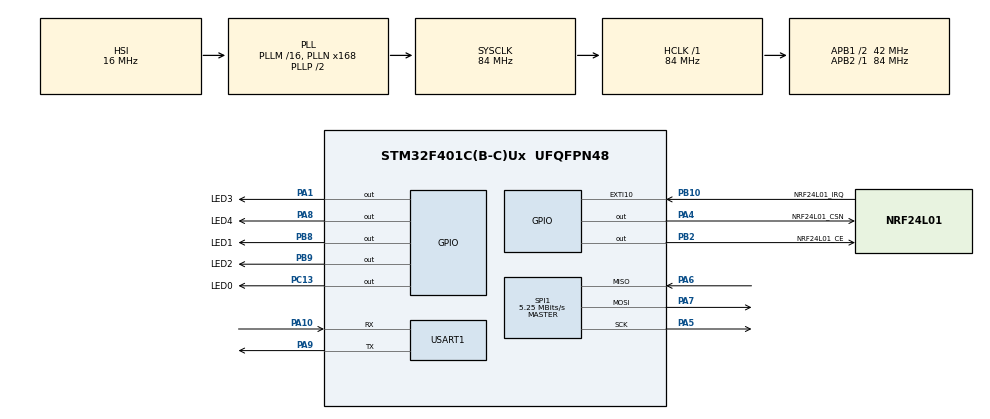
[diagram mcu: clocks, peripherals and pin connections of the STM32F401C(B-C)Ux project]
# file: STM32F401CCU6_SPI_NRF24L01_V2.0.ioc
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Mcu.Family=STM32F4
Mcu.Name=STM32F401C(B-C)Ux
Mcu.Package=UFQFPN48
NVIC.EXTI15_10_IRQn=true\:0\:0\:false\:false\:true\:true\:true
NVIC.PriorityGroup=NVIC_PRIORITYGROUP_4
NVIC.USART1_IRQn=true\:0\:0\:false\:false\:true\:true\:true
PA1.GPIO_Label=LED3
PA1.Signal=GPIO_Output
PA10.Mode=Asynchronous
PA10.Signal=USART1_RX
PA13.Mode=Serial_Wire
PA13.Signal=SYS_JTMS-SWDIO
PA14.Mode=Serial_Wire
PA14.Signal=SYS_JTCK-SWCLK
PA4.GPIO_Label=NRF24L01_CSN
PA4.GPIO_Speed=GPIO_SPEED_FREQ_LOW
PA4.PinState=GPIO_PIN_SET
PA4.Signal=GPIO_Output
PA5.Mode=Full_Duplex_Master
PA5.Signal=SPI1_SCK
PA6.Mode=Full_Duplex_Master
PA6.Signal=SPI1_MISO
PA7.Mode=Full_Duplex_Master
PA7.Signal=SPI1_MOSI
PA8.GPIO_Label=LED4
PA8.Signal=GPIO_Output
PA9.Mode=Asynchronous
PA9.Signal=USART1_TX
PB10.GPIO_Label=NRF24L01_IRQ
PB10.GPIO_ModeDefaultEXTI=GPIO_MODE_IT_FALLING
PB10.GPIO_PuPd=GPIO_PULLUP
PB10.Signal=GPXTI10
PB2.GPIO_Label=NRF24L01_CE
PB2.Signal=GPIO_Output
PB8.GPIO_Label=LED1
PB8.Signal=GPIO_Output
PB9.GPIO_Label=LED2
PB9.Signal=GPIO_Output
PC13-ANTI_TAMP.GPIO_Label=LED0
PC13-ANTI_TAMP.Signal=GPIO_Output
ProjectManager.HeapSize=0x200
ProjectManager.StackSize=0x400
ProjectManager.TargetToolchain=MDK-ARM V5.32
RCC.48MHZClocksFreq_Value=42000000
RCC.AHBFreq_Value=84000000
RCC.APB1CLKDivider=RCC_HCLK_DIV2
RCC.APB1Freq_Value=42000000
RCC.APB1TimFreq_Value=84000000
RCC.APB2Freq_Value=84000000
RCC.APB2TimFreq_Value=84000000
RCC.CortexFreq_Value=84000000
RCC.HCLKFreq_Value=84000000
RCC.HSE_VALUE=25000000
RCC.HSI_VALUE=16000000
RCC.LSE_VALUE=32768
RCC.PLLN=168
RCC.SYSCLKFreq_VALUE=84000000
RCC.SYSCLKSource=RCC_SYSCLKSOURCE_PLLCLK
RCC.VCOOutputFreq_Value=168000000
SPI1.BaudRatePrescaler=SPI_BAUDRATEPRESCALER_16
SPI1.CalculateBaudRate=5.25 MBits/s
SPI1.Direction=SPI_DIRECTION_2LINES
SPI1.Mode=SPI_MODE_MASTER
SPI1.VirtualType=VM_MASTER
USART1.VirtualMode=VM_ASYNC
board=custom

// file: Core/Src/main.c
/* USER CODE BEGIN Header */
/**
  ******************************************************************************
  * @file           : main.c
  * @brief          : Main program body
  ******************************************************************************
  * @attention
  *
  * Copyright (c) 2022 STMicroelectronics.
  * All rights reserved.
  *
  * This software is licensed under terms that can be found in the LICENSE file
  * in the root directory of this software component.
  * If no LICENSE file comes with this software, it is provided AS-IS.
  *
  ******************************************************************************
  */
/* USER CODE END Header */
#include "main.h"

SPI_HandleTypeDef hspi1;

UART_HandleTypeDef huart1;

/* USER CODE BEGIN PV */
uint8_t nrf2401_tx_flag=0;
uint8_t nrf2401_txbuf[33];
uint8_t txbuf_pos=0;
//uint8_t sign_word;
/* USER CODE END PV */

void SystemClock_Config(void);
static void MX_GPIO_Init(void);
static void MX_SPI1_Init(void);
static void MX_USART1_UART_Init(void);

/* USER CODE BEGIN 0 */
void HAL_GPIO_EXTI_Callback(uint16_t GPIO_Pin)  //NRF2401_IRQ引脚中断
{ uint8_t tmp_buf[35],len;
  if(GPIO_Pin==NRF24L01_IRQ_Pin)
  { //*
    len=NRF24L01_RxPacket(tmp_buf); //返回收到的字节数,收到的len个字节数据存在tmp_buf中
    if(len>0)//一旦接收到信息,则串口发送出去.
    { //tmp_buf[len++]='\r';
      //tmp_buf[len++]='\n';
      tmp_buf[len+1]=0;
      //send_str(&huart1,tmp_buf);
      send_char_array(&huart1,tmp_buf,len);
      HAL_GPIO_TogglePin(LED0_GPIO_Port,LED0_Pin);
      HAL_GPIO_TogglePin(LED1_GPIO_Port,LED2_Pin);
      //__HAL_GPIO_EXTI_CLEAR_IT(NRF24L01_IRQ_Pin);
    }  // */
  }
}
/* USER CODE END 0 */

int main(void)
{

  /* MCU Configuration--------------------------------------------------------*/

  /* Reset of all peripherals, Initializes the Flash interface and the Systick. */
  HAL_Init();

  /* Configure the system clock */
  SystemClock_Config();

  /* Initialize all configured peripherals */
  MX_GPIO_Init();
  MX_SPI1_Init();
  MX_USART1_UART_Init();
  /* USER CODE BEGIN 2 */
  HAL_NVIC_DisableIRQ(NRF24L01_IRQ_EXTI_IRQn); //在MX_GPIO_Init()函数的末尾开了此中断，先关闭，等NRL24L01初始化完后再开中断
  __HAL_UART_ENABLE_IT(&huart1, UART_IT_RXNE); //使能串口1的接收中断，中断处理在stm32f4xx_it.c文件USART1_IRQHandler函数中
  __HAL_UART_ENABLE_IT(&huart1, UART_IT_IDLE); //使能串口1的空闲中断，中断处理在stm32f4xx_it.c文件USART1_IRQHandler函数中
  while(NRF24L01_Check())//检测不到24L01
  {
    HAL_GPIO_TogglePin(LED0_GPIO_Port,LED0_Pin);
    HAL_GPIO_TogglePin(LED1_GPIO_Port,LED1_Pin);
    HAL_Delay(250);
  }
  RX_Mode();//NRF24L01配置为接收模式

  // EXTI interrupt init
  HAL_NVIC_SetPriority(NRF24L01_IRQ_EXTI_IRQn, 0, 0);
  HAL_NVIC_EnableIRQ(NRF24L01_IRQ_EXTI_IRQn); //使能此中断本来在MX_GPIO_Init()函数的末尾，移到此等NRL24L01初始化完后再开中断
  //NRF24L01接收数据的处理程序在本文件HAL_GPIO_EXTI_Callback函数中

  /* USER CODE END 2 */

  /* Infinite loop */
  /* USER CODE BEGIN WHILE */
  for(uint8_t i=0;i<32;i++)
    nrf2401_txbuf[i]=0x20+i;
  send_str(&huart1,(uint8_t *)"STM32F401CCU6 SPI NRF24L01 TEST\r\n");

  while (1)
  {
    if(nrf2401_tx_flag) //串口1如果收到数据，会将nrf2401_tx_flag变量置1 ,
    {  //串口1收到的数据存在数组nrf2401_txbuf[]中，长度为txbuf_pos个字节
      TX_Mode(); //NRF24L01切换到发送模式
      if(NRF24L01_TxPacket(nrf2401_txbuf,txbuf_pos)==TX_OK)  //if NRF24L01发送成功
      {
        HAL_GPIO_TogglePin(LED0_GPIO_Port,LED0_Pin); //切换灯的状态
        HAL_GPIO_TogglePin(LED1_GPIO_Port,LED1_Pin); //切换灯的状态
      }
      //else  //发送失败
        //HAL_Delay(10); //延时10ms，随后重新进入上面的if,重新发送。
      txbuf_pos=0; //长度清0
      nrf2401_tx_flag=0; //标志位清0
      RX_Mode(); //NRF24L01切换到接收模式
    }
    /* USER CODE END WHILE */

  }
}

void SystemClock_Config(void)
{
  RCC_OscInitTypeDef RCC_OscInitStruct = {0};
  RCC_ClkInitTypeDef RCC_ClkInitStruct = {0};

  /** Configure the main internal regulator output voltage
  */
  __HAL_RCC_PWR_CLK_ENABLE();
  __HAL_PWR_VOLTAGESCALING_CONFIG(PWR_REGULATOR_VOLTAGE_SCALE2);
  /** Initializes the RCC Oscillators according to the specified parameters
  * in the RCC_OscInitTypeDef structure.
  */
  RCC_OscInitStruct.OscillatorType = RCC_OSCILLATORTYPE_HSI;
  RCC_OscInitStruct.HSIState = RCC_HSI_ON;
  RCC_OscInitStruct.HSICalibrationValue = RCC_HSICALIBRATION_DEFAULT;
  RCC_OscInitStruct.PLL.PLLState = RCC_PLL_ON;
  RCC_OscInitStruct.PLL.PLLSource = RCC_PLLSOURCE_HSI;
  RCC_OscInitStruct.PLL.PLLM = 16;
  RCC_OscInitStruct.PLL.PLLN = 168;
  RCC_OscInitStruct.PLL.PLLP = RCC_PLLP_DIV2;
  RCC_OscInitStruct.PLL.PLLQ = 4;
  if (HAL_RCC_OscConfig(&RCC_OscInitStruct) != HAL_OK)
  {
    Error_Handler();
  }
  /** Initializes the CPU, AHB and APB buses clocks
  */
  RCC_ClkInitStruct.ClockType = RCC_CLOCKTYPE_HCLK|RCC_CLOCKTYPE_SYSCLK
                              |RCC_CLOCKTYPE_PCLK1|RCC_CLOCKTYPE_PCLK2;
  RCC_ClkInitStruct.SYSCLKSource = RCC_SYSCLKSOURCE_PLLCLK;
  RCC_ClkInitStruct.AHBCLKDivider = RCC_SYSCLK_DIV1;
  RCC_ClkInitStruct.APB1CLKDivider = RCC_HCLK_DIV2;
  RCC_ClkInitStruct.APB2CLKDivider = RCC_HCLK_DIV1;

  if (HAL_RCC_ClockConfig(&RCC_ClkInitStruct, FLASH_LATENCY_2) != HAL_OK)
  {
    Error_Handler();
  }
}

static void MX_SPI1_Init(void)
{

  /* SPI1 parameter configuration*/
  hspi1.Instance = SPI1;
  hspi1.Init.Mode = SPI_MODE_MASTER;
  hspi1.Init.Direction = SPI_DIRECTION_2LINES;
  hspi1.Init.DataSize = SPI_DATASIZE_8BIT;
  hspi1.Init.CLKPolarity = SPI_POLARITY_LOW;
  hspi1.Init.CLKPhase = SPI_PHASE_1EDGE;
  hspi1.Init.NSS = SPI_NSS_SOFT;
  hspi1.Init.BaudRatePrescaler = SPI_BAUDRATEPRESCALER_16;
  hspi1.Init.FirstBit = SPI_FIRSTBIT_MSB;
  hspi1.Init.TIMode = SPI_TIMODE_DISABLE;
  hspi1.Init.CRCCalculation = SPI_CRCCALCULATION_DISABLE;
  hspi1.Init.CRCPolynomial = 10;
  if (HAL_SPI_Init(&hspi1) != HAL_OK)
  {
    Error_Handler();
  }

}

static void MX_USART1_UART_Init(void)
{

  huart1.Instance = USART1;
  huart1.Init.BaudRate = 115200;
  huart1.Init.WordLength = UART_WORDLENGTH_8B;
  huart1.Init.StopBits = UART_STOPBITS_1;
  huart1.Init.Parity = UART_PARITY_NONE;
  huart1.Init.Mode = UART_MODE_TX_RX;
  huart1.Init.HwFlowCtl = UART_HWCONTROL_NONE;
  huart1.Init.OverSampling = UART_OVERSAMPLING_16;
  if (HAL_UART_Init(&huart1) != HAL_OK)
  {
    Error_Handler();
  }

}

static void MX_GPIO_Init(void)
{
  GPIO_InitTypeDef GPIO_InitStruct = {0};

  /* GPIO Ports Clock Enable */
  __HAL_RCC_GPIOC_CLK_ENABLE();
  __HAL_RCC_GPIOA_CLK_ENABLE();
  __HAL_RCC_GPIOB_CLK_ENABLE();

  /*Configure GPIO pin Output Level */
  HAL_GPIO_WritePin(GPIOC, GPIO_PIN_13, GPIO_PIN_RESET);

  /*Configure GPIO pin Output Level */
  HAL_GPIO_WritePin(GPIOA, GPIO_PIN_1|GPIO_PIN_8, GPIO_PIN_RESET);

  /*Configure GPIO pin Output Level */
  HAL_GPIO_WritePin(GPIOA, GPIO_PIN_4, GPIO_PIN_SET);

  /*Configure GPIO pin Output Level */
  HAL_GPIO_WritePin(GPIOB, GPIO_PIN_2|GPIO_PIN_8|GPIO_PIN_9, GPIO_PIN_RESET);

  /*Configure GPIO pin : PC13 */
  GPIO_InitStruct.Pin = GPIO_PIN_13;
  GPIO_InitStruct.Mode = GPIO_MODE_OUTPUT_PP;
  GPIO_InitStruct.Pull = GPIO_NOPULL;
  GPIO_InitStruct.Speed = GPIO_SPEED_FREQ_LOW;
  HAL_GPIO_Init(GPIOC, &GPIO_InitStruct);

  /*Configure GPIO pins : PA1 PA4 PA8 */
  GPIO_InitStruct.Pin = GPIO_PIN_1|GPIO_PIN_4|GPIO_PIN_8;
  GPIO_InitStruct.Mode = GPIO_MODE_OUTPUT_PP;
  GPIO_InitStruct.Pull = GPIO_NOPULL;
  GPIO_InitStruct.Speed = GPIO_SPEED_FREQ_LOW;
  HAL_GPIO_Init(GPIOA, &GPIO_InitStruct);

  /*Configure GPIO pins : PB2 PB8 PB9 */
  GPIO_InitStruct.Pin = GPIO_PIN_2|GPIO_PIN_8|GPIO_PIN_9;
  GPIO_InitStruct.Mode = GPIO_MODE_OUTPUT_PP;
  GPIO_InitStruct.Pull = GPIO_NOPULL;
  GPIO_InitStruct.Speed = GPIO_SPEED_FREQ_LOW;
  HAL_GPIO_Init(GPIOB, &GPIO_InitStruct);

  /*Configure GPIO pin : PB10 */
  GPIO_InitStruct.Pin = GPIO_PIN_10;
  GPIO_InitStruct.Mode = GPIO_MODE_IT_FALLING;
  GPIO_InitStruct.Pull = GPIO_PULLUP;
  HAL_GPIO_Init(GPIOB, &GPIO_InitStruct);

  /* EXTI interrupt init*/
  HAL_NVIC_SetPriority(EXTI15_10_IRQn, 0, 0);
  HAL_NVIC_EnableIRQ(EXTI15_10_IRQn);

}

void Error_Handler(void)
{
  __disable_irq();
  while (1)
  {
  }
}
